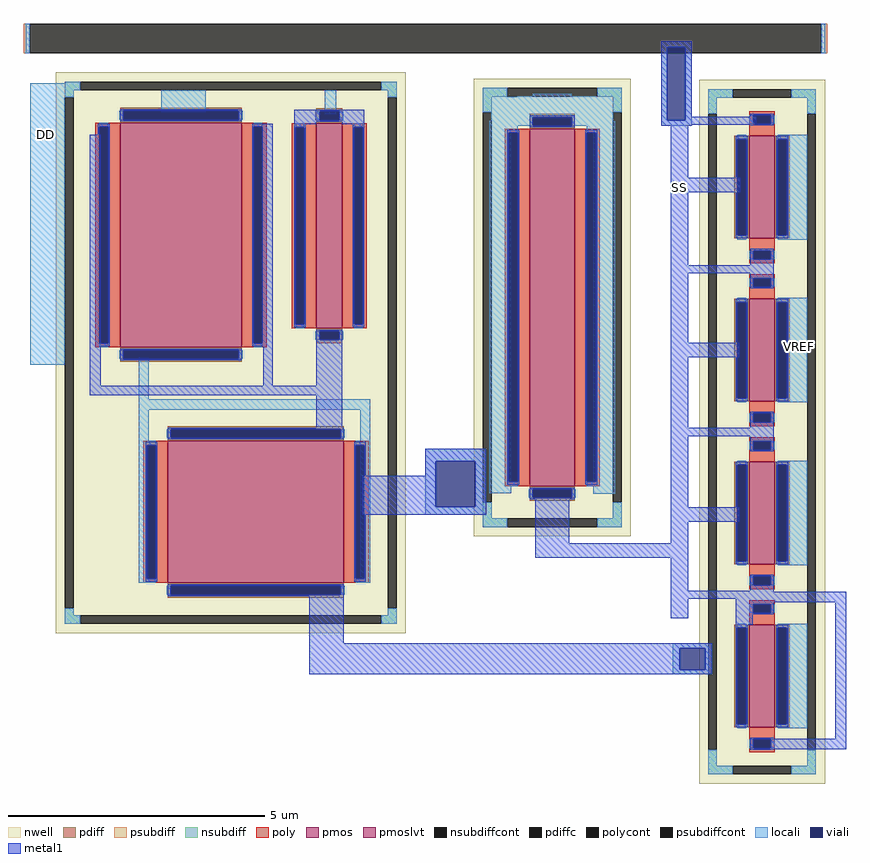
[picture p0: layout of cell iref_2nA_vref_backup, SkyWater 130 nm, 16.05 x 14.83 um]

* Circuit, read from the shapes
.subckt iref_2nA_vref_backup DD SS VREF
XM1 DD n1 n2 DD sky130_fd_pr__pfet_01v8 w=2.37 l=4.38
XM2 n1 n2 VREF DD sky130_fd_pr__pfet_01v8_lvt w=3.43 l=2.77
XM3 DD DD n1 DD sky130_fd_pr__pfet_01v8_lvt w=0.5 l=4
XM4 n2 n2 SS n2 sky130_fd_pr__pfet_01v8_lvt w=0.88 l=6.97
XM5 VREF SS SS VREF sky130_fd_pr__pfet_01v8 w=2 l=0.5 m=4
.ends

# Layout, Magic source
magic
tech sky130A
magscale 1 2
<< nwell >>
rect -1334 -3224 33 -1036
<< psubdiff >>
rect -1459 -962 -1435 -845
rect 1653 -962 1677 -845
<< nsubdiff >>
rect -1298 -1106 -1238 -1072
rect -63 -1106 -3 -1072
rect -1298 -1132 -1264 -1106
rect -1298 -3154 -1264 -3128
rect -37 -1132 -3 -1106
rect -37 -3154 -3 -3128
rect -1298 -3188 -1238 -3154
rect -63 -3188 -3 -3154
<< psubdiffcont >>
rect -1435 -962 1653 -845
<< nsubdiffcont >>
rect -1238 -1106 -63 -1072
rect -1298 -3128 -1264 -1132
rect -37 -3128 -3 -1132
rect -1238 -3188 -63 -3154
<< locali >>
rect -1451 -962 -1435 -845
rect 1653 -962 1669 -845
rect -1298 -1078 -1238 -1072
rect -1434 -1106 -1238 -1078
rect -63 -1106 -3 -1072
rect -1434 -1132 -1264 -1106
rect -1434 -2176 -1298 -1132
rect -922 -1192 -749 -1106
rect -283 -1199 -239 -1106
rect -37 -1132 -3 -1106
rect 528 -1128 680 -1120
rect 467 -1130 843 -1128
rect -1009 -2312 -970 -2148
rect -1009 -2353 -106 -2312
rect -1009 -3028 -970 -2353
rect -146 -3028 -106 -2353
rect -1298 -3154 -1264 -3128
rect 366 -1214 843 -1130
rect 366 -1225 530 -1214
rect 359 -1244 530 -1225
rect 677 -1227 843 -1214
rect 1030 -1222 1053 -962
rect 1124 -1222 1149 -962
rect 677 -1244 850 -1227
rect 359 -1256 469 -1244
rect 108 -2554 347 -2504
rect 108 -2731 150 -2554
rect 303 -2731 347 -2554
rect 359 -2678 444 -1256
rect 739 -1266 850 -1244
rect 1030 -1245 1149 -1222
rect 765 -2680 850 -1266
rect 1519 -1688 1599 -1280
rect 1519 -2324 1599 -1916
rect 108 -2763 347 -2731
rect 1519 -2960 1599 -2552
rect -37 -3154 -3 -3128
rect -1298 -3188 -1238 -3154
rect -63 -3188 -3 -3154
rect 1074 -3283 1229 -3263
rect 1074 -3367 1101 -3283
rect 1202 -3367 1229 -3283
rect 1074 -3385 1229 -3367
rect 1519 -3596 1599 -3188
<< viali >>
rect 1053 -962 1124 -938
rect 1053 -1222 1124 -962
rect 150 -2731 303 -2554
rect 1101 -3367 1202 -3283
<< metal1 >>
rect 1030 -938 1149 -914
rect -1200 -2258 -1158 -1280
rect -521 -1543 -486 -1236
rect -403 -1238 -316 -1182
rect -216 -1238 -129 -1182
rect 1030 -1222 1053 -938
rect 1124 -1208 1149 -938
rect 1124 -1222 1400 -1208
rect 1030 -1240 1400 -1222
rect 1030 -1245 1149 -1240
rect -523 -2258 -486 -1543
rect 1066 -1447 1135 -1245
rect 1066 -1504 1337 -1447
rect 1066 -1788 1135 -1504
rect 1377 -1788 1469 -1771
rect 1066 -1820 1469 -1788
rect -316 -2258 -216 -2086
rect -1200 -2295 -216 -2258
rect -316 -2422 -216 -2295
rect 1066 -2090 1135 -1820
rect 1377 -1833 1469 -1820
rect 1066 -2147 1334 -2090
rect 1066 -2423 1135 -2147
rect 1377 -2423 1469 -2407
rect 1066 -2455 1469 -2423
rect 108 -2554 347 -2504
rect 108 -2610 150 -2554
rect -138 -2731 150 -2610
rect 303 -2731 347 -2554
rect -138 -2763 347 -2731
rect 538 -2873 670 -2700
rect 1066 -2733 1135 -2455
rect 1377 -2469 1469 -2455
rect 1066 -2790 1334 -2733
rect 1066 -2873 1135 -2790
rect 538 -2930 1135 -2873
rect 1066 -3058 1135 -2930
rect 1377 -3058 1469 -3043
rect 1066 -3062 1469 -3058
rect -344 -3263 -210 -3080
rect 1066 -3090 1752 -3062
rect 1066 -3167 1135 -3090
rect 1321 -3103 1752 -3090
rect 1321 -3105 1469 -3103
rect 1321 -3192 1387 -3105
rect -344 -3283 1229 -3263
rect -344 -3367 1101 -3283
rect 1202 -3367 1229 -3283
rect -344 -3385 1229 -3367
rect 1709 -3636 1752 -3103
rect 1464 -3677 1752 -3636
use sky130_fd_pr__pfet_01v8_9XRXHT  sky130_fd_pr__pfet_01v8_9XRXHT_0
transform 0 1 -845 -1 0 -1670
box -532 -337 532 337
use sky130_fd_pr__pfet_01v8_lvt_AUUK23  sky130_fd_pr__pfet_01v8_lvt_AUUK23_0
transform 0 1 -266 -1 0 -1634
box -494 -150 494 150
use sky130_fd_pr__pfet_01v8_lvt_G4T6DY  sky130_fd_pr__pfet_01v8_lvt_G4T6DY_0
transform 0 1 604 -1 0 -1953
box -893 -307 893 307
use sky130_fd_pr__pfet_01v8_lvt_XRKP42  sky130_fd_pr__pfet_01v8_lvt_XRKP42_0
transform 0 1 -553 -1 0 -2751
box -371 -443 371 443
use sky130_fd_pr__pfet_01v8_PDY5CA  sky130_fd_pr__pfet_01v8_PDY5CA_0
transform -1 0 1423 0 -1 -2438
box -246 -1373 246 1373
<< labels >>
flabel locali 1540 -2134 1596 -2074 0 FreeSans 1600 0 0 0 VREF
flabel locali -1406 -1312 -1342 -1242 0 FreeSans 1600 0 0 0 DD
flabel metal1 1081 -1520 1118 -1449 0 FreeSans 1600 0 0 0 SS
<< end >>

# cell sky130_fd_pr__pfet_01v8_9XRXHT: kit device sky130_fd_pr__pfet_01v8, w 2.37 l 4.38 m 1 nf 1 diffcov 100 polycov 100 guard 0 glc 0 grc 0 gtc 0 gbc 0 tbcov 100 rlcov 100 topc 1 botc 1 poverlap 0 doverlap 1 lmin 0.15 wmin 0.42 compatible {sky130_fd_pr__pfet_01v8 sky130_fd_pr__pfet_01v8_lvt sky130_fd_pr__pfet_01v8_hvt sky130_fd_pr__pfet_g5v0d10v5} full_metal 0 viasrc 100 viadrn 100 viagate 100 viagb 0 viagr 0 viagl 0 viagt 0

# cell sky130_fd_pr__pfet_01v8_lvt_AUUK23: kit device sky130_fd_pr__pfet_01v8_lvt, w 0.5 l 4 m 1 nf 1 diffcov 100 polycov 100 guard 0 glc 0 grc 0 gtc 0 gbc 0 tbcov 100 rlcov 100 topc 1 botc 1 poverlap 0 doverlap 1 lmin 0.35 wmin 0.42 compatible {sky130_fd_pr__pfet_01v8 sky130_fd_pr__pfet_01v8_lvt sky130_fd_pr__pfet_01v8_hvt sky130_fd_pr__pfet_g5v0d10v5} full_metal 0 viasrc 100 viadrn 100 viagate 100 viagb 0 viagr 0 viagl 0 viagt 0

# cell sky130_fd_pr__pfet_01v8_lvt_G4T6DY: kit device sky130_fd_pr__pfet_01v8_lvt, w 0.88 l 6.97 m 1 nf 1 diffcov 100 polycov 100 guard 1 glc 1 grc 1 gtc 1 gbc 1 tbcov 100 rlcov 100 topc 1 botc 1 poverlap 0 doverlap 1 lmin 0.35 wmin 0.42 compatible {sky130_fd_pr__pfet_01v8 sky130_fd_pr__pfet_01v8_lvt sky130_fd_pr__pfet_01v8_hvt sky130_fd_pr__pfet_g5v0d10v5} full_metal 1 viasrc 100 viadrn 100 viagate 100 viagb 0 viagr 0 viagl 0 viagt 0

# cell sky130_fd_pr__pfet_01v8_lvt_XRKP42: kit device sky130_fd_pr__pfet_01v8_lvt, w 3.43 l 2.77 m 1 nf 1 diffcov 100 polycov 100 guard 0 glc 0 grc 0 gtc 0 gbc 0 tbcov 100 rlcov 100 topc 1 botc 1 poverlap 0 doverlap 1 lmin 0.35 wmin 0.42 compatible {sky130_fd_pr__pfet_01v8 sky130_fd_pr__pfet_01v8_lvt sky130_fd_pr__pfet_01v8_hvt sky130_fd_pr__pfet_g5v0d10v5} full_metal 0 viasrc 100 viadrn 100 viagate 100 viagb 0 viagr 0 viagl 0 viagt 0

# cell sky130_fd_pr__pfet_01v8_PDY5CA: kit device sky130_fd_pr__pfet_01v8, w 2 l 0.5 m 4 nf 1 diffcov 100 polycov 100 guard 1 glc 1 grc 1 gtc 1 gbc 1 tbcov 100 rlcov 100 topc 1 botc 1 poverlap 0 doverlap 1 lmin 0.15 wmin 0.42 compatible {sky130_fd_pr__pfet_01v8 sky130_fd_pr__pfet_01v8_lvt sky130_fd_pr__pfet_01v8_hvt sky130_fd_pr__pfet_g5v0d10v5} full_metal 1 viasrc 100 viadrn 100 viagate 100 viagb 0 viagr 0 viagl 0 viagt 0
